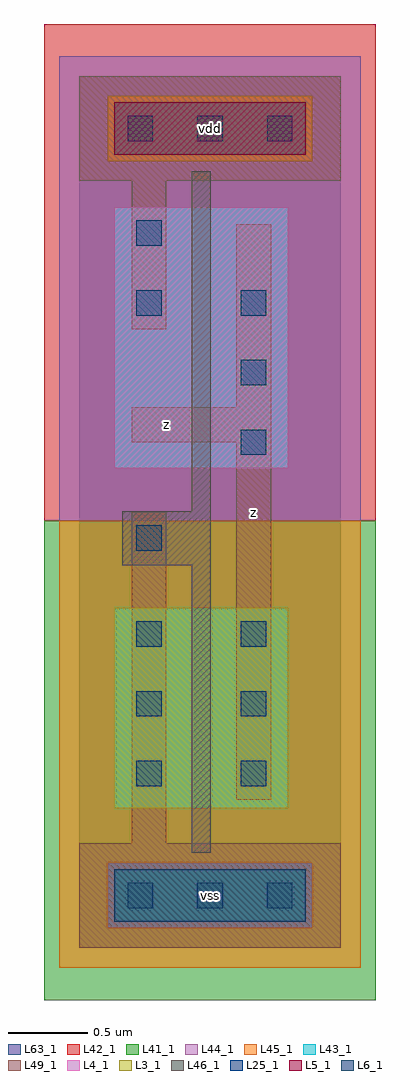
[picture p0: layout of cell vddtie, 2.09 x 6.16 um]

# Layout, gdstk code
import gdstk
lib = gdstk.Library(unit=1e-6, precision=1e-09)
def R(c, l, rs):  # rectangles x0, y0, x1, y1
    for r in rs: c.add(gdstk.rectangle(r[:2], r[2:], *l))
def A(c, l, x, y, w, h, nx, ny, dx, dy):  # array of equal rectangles
    R(c, l, [(x+i*dx, y+j*dy, x+i*dx+w, y+j*dy+h) for i in range(nx) for j in range(ny)])
L3_1 = (3, 1)
L4_1 = (4, 1)
L5_1 = (5, 1)
L6_1 = (6, 1)
L25_1 = (25, 1)
L41_1 = (41, 1)
L42_1 = (42, 1)
L43_1 = (43, 1)
L44_1 = (44, 1)
L45_1 = (45, 1)
L46_1 = (46, 1)
L49_1 = (49, 1)
L63_1 = (63, 1)

vddtie = lib.new_cell('vddtie')
R(vddtie, L3_1, [(0.22,0.88,1.32,2.145)])
R(vddtie, L4_1, [(0.22,3.025,1.32,4.675)])
R(vddtie, L5_1, [(0.22,5.005,1.43,5.335)])
R(vddtie, L6_1, [(0.22,0.165,1.43,0.495)])
A(vddtie, L25_1, 0.305, 0.25, 0.16, 0.16, 3, 2, 0.44, 4.84)
A(vddtie, L25_1, 0.36, 1.02, 0.16, 0.16, 1, 3, 0, 0.44)
A(vddtie, L25_1, 1.02, 1.02, 0.16, 0.16, 1, 3, 0, 0.44)
A(vddtie, L25_1, 1.02, 3.11, 0.16, 0.16, 1, 3, 0, 0.44)
R(vddtie, L25_1, [(0.36,2.505,0.52,2.665), (0.36,3.99,0.52,4.15), (0.36,4.43,0.52,4.59)])
R(vddtie, L41_1, [(-0.22,-0.33,1.87,2.695)])
R(vddtie, L42_1, [(-0.22,2.695,1.87,5.83)])
R(vddtie, L43_1, [(0.22,0.165,1.43,0.495), (0.22,0.88,1.32,2.145), (0.22,3.025,1.32,4.675), (0.22,5.005,1.43,5.335)])
R(vddtie, L44_1, [(0.18,0.125,1.47,0.535), (-0.125,2.695,1.775,4.965), (-0.125,4.965,0.18,5.375), (1.47,4.965,1.775,5.375), (-0.125,5.375,1.775,5.625)])
R(vddtie, L45_1, [(-0.125,-0.125,1.775,0.125), (-0.125,0.125,0.18,0.535), (1.47,0.125,1.775,0.535), (-0.125,0.535,1.775,2.695), (0.18,4.965,1.47,5.375)])
R(vddtie, L46_1, [(0.71,0.6,0.83,2.415), (0.27,2.415,0.83,2.755), (0.71,2.755,0.83,4.9)])
R(vddtie, L49_1, [(0,0,1.65,0.66), (0.33,0.66,0.55,2.75), (0.99,0.935,1.21,3.19), (0.33,3.19,1.21,3.41), (0.99,3.41,1.21,4.565), (0.33,3.905,0.55,4.84), (0,4.84,1.65,5.5)])
R(vddtie, L63_1, [(0,0,1.65,5.5)])
vddtie.add(gdstk.Label('z', (0.55,3.3), layer=49, texttype=1))
vddtie.add(gdstk.Label('z', (0.55,3.3), layer=49, texttype=1))
vddtie.add(gdstk.Label('vss', (0.825,0.33), layer=49, texttype=1))
vddtie.add(gdstk.Label('vss', (0.825,0.33), layer=49, texttype=1))
vddtie.add(gdstk.Label('z', (1.1,2.75), layer=49, texttype=1))
vddtie.add(gdstk.Label('z', (1.1,2.75), layer=49, texttype=1))
vddtie.add(gdstk.Label('vdd', (0.825,5.17), layer=49, texttype=1))
vddtie.add(gdstk.Label('vdd', (0.825,5.17), layer=49, texttype=1))

lib.write_gds('vddtie.gds')
